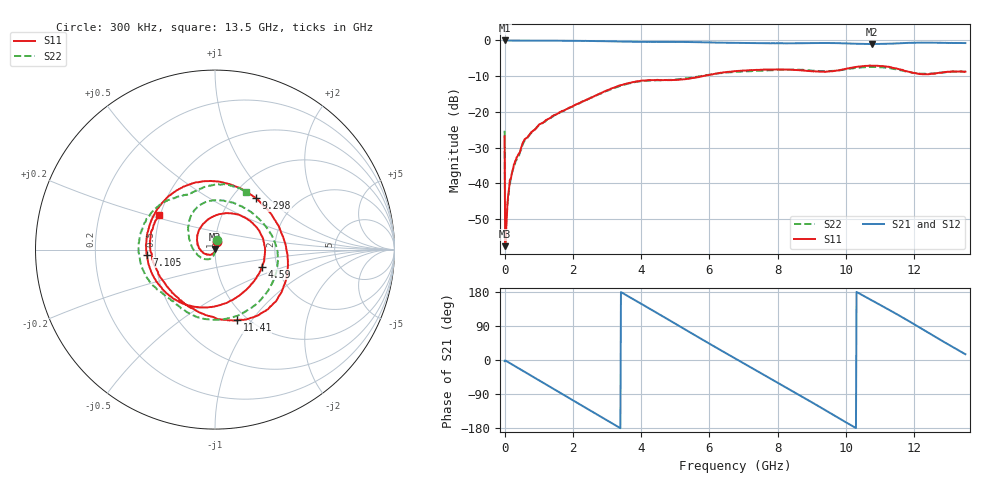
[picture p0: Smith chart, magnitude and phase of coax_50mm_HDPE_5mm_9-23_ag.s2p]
!Agilent Technologies,N5230C,MY48100320,A.08.04.10
!Agilent N5230C: A.08.04.10
!Date: Friday, September 23, 2016 16:39:59
!Correction: S11(Full 2 Port(1,2))
!S21(Full 2 Port(1,2))
!S12(Full 2 Port(1,2))
!S22(Full 2 Port(1,2))
!S2P File: Measurements: S11, S21, S12, S22:
# Hz S  dB  R 50
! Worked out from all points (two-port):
!   801 points, 300 kHz to 13.5 GHz, reference 50 ohm
!   highest |S21| = 0.01 dB at 17.17 MHz (marker M1); lowest = -1.0 dB at 10.75 GHz (marker M2)
!   |S21| within 3 dB of the highest: start of sweep to end of sweep
!   lowest |S11| = -57.6 dB at 17.17 MHz (marker M3), VSWR 1.00, Z = 49.9 + j0.0696 ohm
!   |S11| at or under -10 dB: start of sweep to 5.795 GHz
!   |S22| runs from -57.4 to -7.4 dB; largest |S21 - S12| = 0.0046
!   S11 on the Smith chart (normalised r, x): 300 kHz: 1.01, +0.09; 4.59 GHz: 1.67, -0.34; 7.105 GHz: 0.45, -0.03; 9.298 GHz: 1.28, +0.85; 11.41 GHz: 0.90, -0.85; 13.5 GHz: 0.49, +0.22
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300000  -26.84 78.6  -0.07 -2.8  -0.07 -2.8  -25.28 77.4
1.717462e7  -57.59 148.1  0.01 -1.0  0.00 -1.1  -57.38 93.5
8.467312e7  -45.73 -80.9  -0.01 -4.6  -0.01 -4.6  -45.91 -85.3
2.196701e8  -36.99 -102.3  -0.02 -11.8  -0.02 -11.8  -36.91 -93.1
5.40288e8  -28.46 -129.5  -0.02 -28.8  -0.03 -28.8  -28.89 -103.9
1.249022e9  -22.11 -175.2  -0.05 -66.4  -0.06 -66.4  -22.16 -137.2
2.2615e9  -17.16 131.0  -0.12 -120.2  -0.11 -120.1  -17.23 167.1
3.35835e9  -12.62 56.8  -0.28 -178.2  -0.28 -178.2  -12.81 126.4
4.505825e9  -11.07 -14.8  -0.40 121.9  -0.41 122.0  -11.15 78.9
4.590198e9  -11.10 -19.8  -0.41 117.5  -0.41 117.5  -11.14 74.8
5.552052e9  -10.47 -74.5  -0.44 66.7  -0.45 66.7  -10.29 28.3
6.75015e9  -8.58 -152.1  -0.67 4.3  -0.69 4.3  -8.80 -18.5
7.104517e9  -8.38 -175.8  -0.70 -13.9  -0.72 -13.9  -8.64 -31.2
8.116995e9  -8.13 124.1  -0.79 -65.8  -0.78 -65.8  -8.19 -75.6
9.01135e9  -8.64 72.2  -0.72 -112.2  -0.72 -112.1  -8.43 -116.3
9.298218e9  -8.72 51.2  -0.70 -127.2  -0.70 -127.2  -8.56 -126.0
1.000695e10  -7.91 -2.4  -0.82 -164.8  -0.83 -164.8  -8.10 -147.6
1.074944e10  -7.05 -42.2  -1.00 157.8  -0.96 157.8  -7.42 177.9
1.125567e10  -7.40 -64.9  -0.90 132.8  -0.90 132.8  -7.73 150.8
1.140755e10  -7.70 -72.8  -0.85 125.2  -0.85 125.1  -7.98 143.4
1.23694e10  -9.43 -143.6  -0.60 74.4  -0.60 74.4  -9.29 111.9
1.35e10  -8.74 148.2  -0.72 15.2  -0.71 15.2  -8.70 61.5
